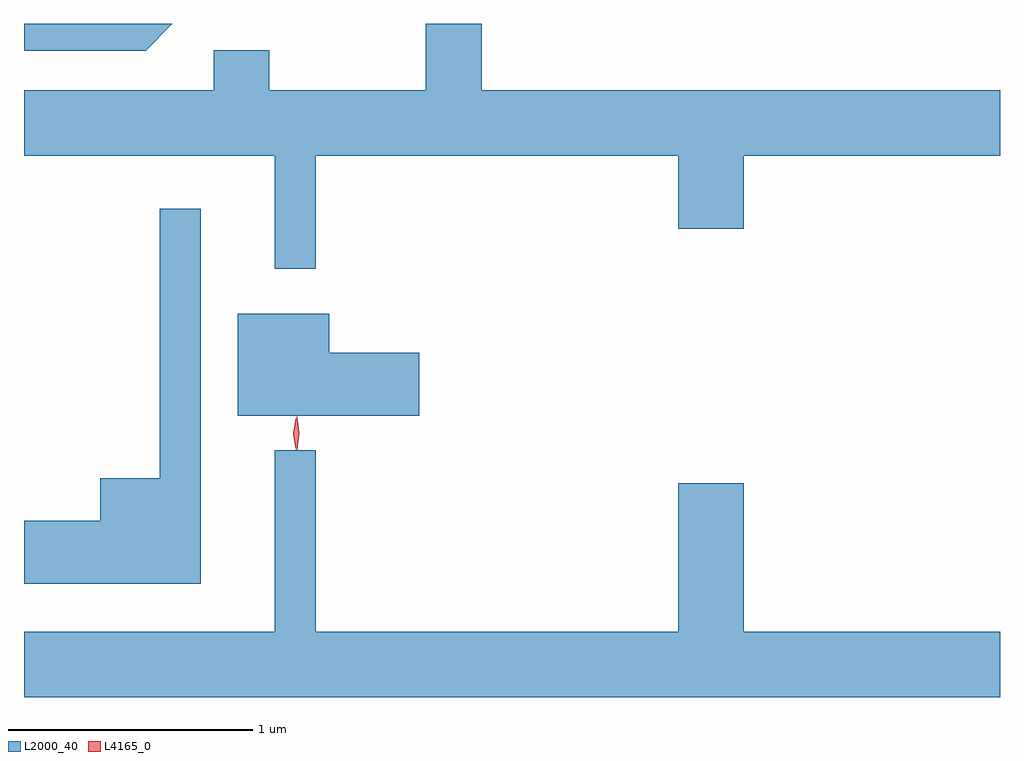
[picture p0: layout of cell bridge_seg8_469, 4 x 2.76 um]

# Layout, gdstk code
import gdstk
lib = gdstk.Library(unit=1e-6, precision=1e-09)
def P(c, l, *ps):  # polygons
    for p in ps: c.add(gdstk.Polygon(p, *l))
L2000_40 = (2000, 40)
L4165_0 = (4165, 0)

bridge_seg8_469 = lib.new_cell('bridge_seg8_469')
P(bridge_seg8_469, L2000_40, [(433.369,1920.776),(434.856,1920.776),(434.856,1920.476),(435.124,1920.476),(435.124,1920.776),(436.174,1920.776),(436.174,1921.044),(434.049,1921.044),(434.049,1921.317),(433.821,1921.317),(433.821,1921.044),(433.179,1921.044),(433.179,1921.209),(432.951,1921.209),(432.951,1921.044),(432.174,1921.044),(432.174,1920.776),(433.201,1920.776),(433.201,1920.313),(433.369,1920.313)],
  [(432.782,1921.317),(432.174,1921.317),(432.174,1921.206),(432.672,1921.206)],
  [(432.899,1920.558),(432.731,1920.558),(432.731,1919.454),(432.486,1919.454),(432.486,1919.279),(432.174,1919.279),(432.174,1919.021),(432.899,1919.021)],
  [(433.794,1919.969),(433.424,1919.969),(433.424,1920.129),(433.051,1920.129),(433.051,1919.711),(433.794,1919.711)],
  [(436.174,1918.824),(435.124,1918.824),(435.124,1919.434),(434.856,1919.434),(434.856,1918.824),(433.369,1918.824),(433.369,1919.568),(433.201,1919.568),(433.201,1918.824),(432.174,1918.824),(432.174,1918.556),(436.174,1918.556)])
P(bridge_seg8_469, L4165_0, [(433.293,1919.569),(433.292,1919.57),(433.283,1919.638),(433.292,1919.705),(433.293,1919.706),(433.293,1919.705),(433.303,1919.638),(433.293,1919.57)],
  [(433.287,1919.573),(433.278,1919.636),(433.287,1919.699),(433.288,1919.7),(433.288,1919.699),(433.298,1919.636),(433.288,1919.573),(433.288,1919.573)])

lib.write_gds('bridge_seg8_469.gds')
